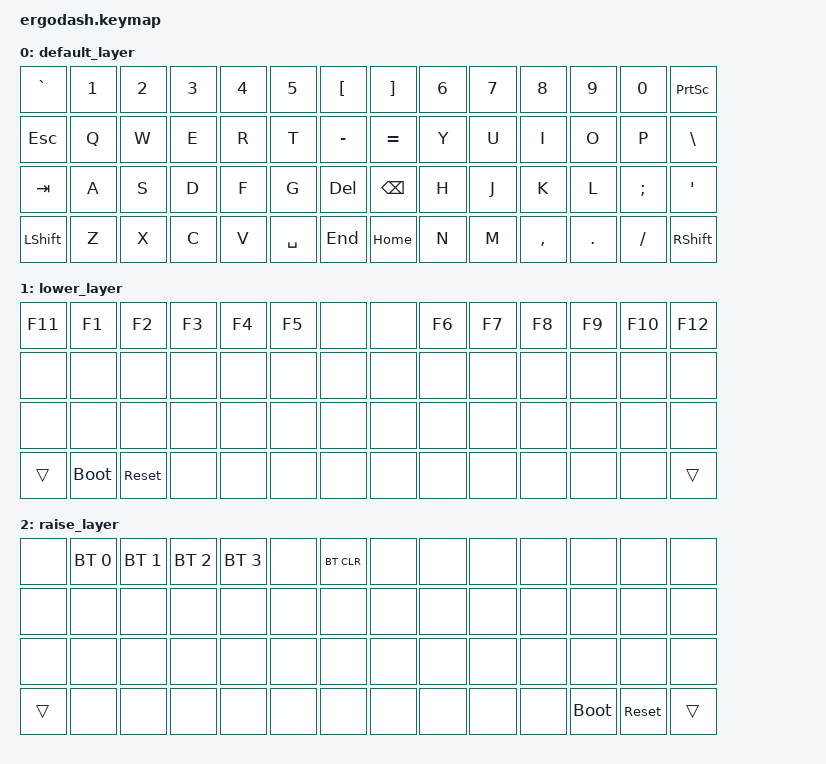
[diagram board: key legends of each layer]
/*
 * Copyright (c) 2020 The ZMK Contributors
 *
 * SPDX-License-Identifier: MIT
 */

#include <behaviors.dtsi>
#include <dt-bindings/zmk/bt.h>
#include <dt-bindings/zmk/keys.h>
#include <dt-bindings/zmk/rgb.h>
#include <dt-bindings/zmk/backlight.h>
#include <dt-bindings/zmk/outputs.h>
#include <dt-bindings/zmk/ext_power.h>

/ {
    keymap {
        compatible = "zmk,keymap";

        default_layer {
            bindings = <
&kp GRAVE  &kp N1  &kp N2  &kp N3  &kp N4  &kp N5     &kp LBKT   &kp RBKT   &kp N6  &kp N7  &kp N8     &kp N9   &kp N0     &kp PSCRN
&kp ESC    &kp Q   &kp W   &kp E   &kp R   &kp T      &kp MINUS  &kp EQUAL  &kp Y   &kp U   &kp I      &kp O    &kp P      &kp BSLH
&kp TAB    &kp A   &kp S   &kp D   &kp F   &kp G      &kp DEL    &kp BSPC   &kp H   &kp J   &kp K      &kp L    &kp SEMI   &kp SQT
&kp LSHFT  &kp Z   &kp X   &kp C   &kp V   &kp SPACE  &kp END    &kp HOME   &kp N   &kp M   &kp COMMA  &kp DOT  &kp SLASH  &kp RSHFT
            >;
        };

        lower_layer {
            bindings = <
&kp F11  &kp F1       &kp F2      &kp F3  &kp F4  &kp F5  &none  &none  &kp F6  &kp F7  &kp F8  &kp F9  &kp F10  &kp F12
&none    &none        &none       &none   &none   &none   &none  &none  &none   &none   &none   &none   &none    &none
&none    &none        &none       &none   &none   &none   &none  &none  &none   &none   &none   &none   &none    &none
&trans   &bootloader  &sys_reset  &none   &none   &none   &none  &none  &none   &none   &none   &none   &none    &trans
            >;
        };

        raise_layer {
            bindings = <
&none   &bt BT_SEL 0  &bt BT_SEL 1  &bt BT_SEL 2  &bt BT_SEL 3  &none  &bt BT_CLR  &none  &none  &none  &none  &none        &none       &none
&none   &none         &none         &none         &none         &none  &none       &none  &none  &none  &none  &none        &none       &none
&none   &none         &none         &none         &none         &none  &none       &none  &none  &none  &none  &none        &none       &none
&trans  &none         &none         &none         &none         &none  &none       &none  &none  &none  &none  &bootloader  &sys_reset  &trans
            >;
        };
    };
};
